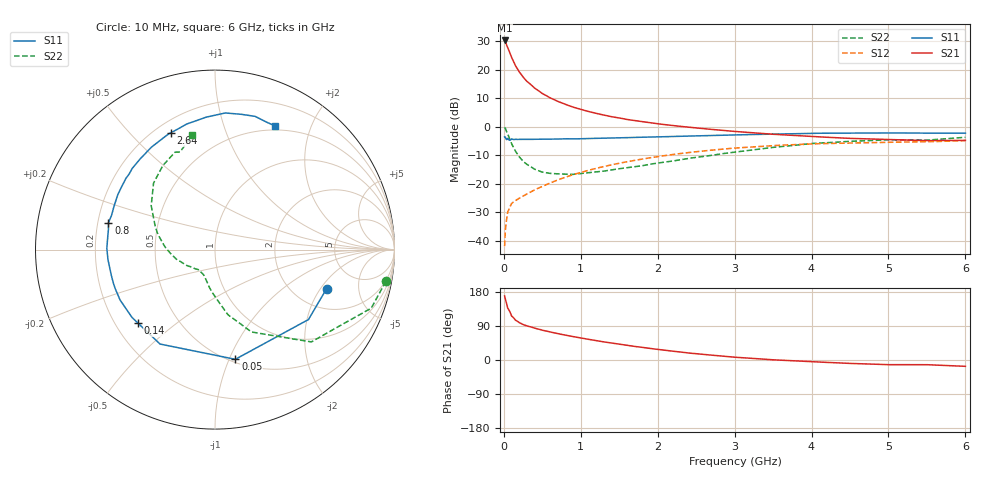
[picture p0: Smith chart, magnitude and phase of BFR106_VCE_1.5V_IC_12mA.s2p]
! Infineon Technologies  Discrete & RF Semiconductors
! BFR106
! VCE =  1.5 V,  IC =  12 mA
! Common Emitter S-Parameters:  Nov 2015
# GHz  S  MA  R  50
!  f  S11  S21  S12  S22
! GHz  MAG  ANG  MAG  ANG  MAG  ANG  MAG  ANG
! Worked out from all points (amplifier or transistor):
!   210 points, 10 MHz to 6 GHz, reference 50 ohm
!   highest |S21| = 30.2 dB at 10 MHz (marker M1)
!   |S21| within 3 dB of that: start of sweep to 58.46 MHz
!   unconditionally stable (mu >= 1): 442.4 MHz to 2.534 GHz; 4.384 GHz to end of sweep
!   at 185 MHz: K = 0.63, MSG = 22.6 dB, |S12| = -25.4 dB
!   at 1.52 GHz: K = 1.09, MAG = 6.0 dB, |S12| = -12.8 dB
!   at 6 GHz: K = 1.02, MAG = -0.9 dB, |S12| = -4.9 dB
!   S11 on the Smith chart (normalised r, x): 10 MHz: 2.97, -2.29; 50 MHz: 0.53, -1.05; 140 MHz: 0.29, -0.37; 800 MHz: 0.24, +0.12; 2.64 GHz: 0.26, +0.66; 6 GHz: 0.45, +1.50
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0.01  0.6588 -19.3  32.33 169.0  0.008 83.2  0.9687 -10.5
0.02  0.6504 -36.8  30.89 159.8  0.0153 74.8  0.9297 -20.5
0.05  0.6216 -79.5  24.41 136.9  0.0315 57.2  0.7433 -43.8
0.1  0.6088 -120.2  16.34 116.4  0.0446 45.9  0.502 -66.1
0.14  0.5933 -136.6  12.58 108.1  0.0492 44.4  0.395 -75.5
0.15  0.5972 -140.7  11.7 105.2  0.0504 44.1  0.3705 -78.7
0.2  0.5989 -152.1  9.102 98.6  0.0554 45.0  0.2948 -85.7
0.24  0.5968 -158.5  7.703 94.6  0.0593 46.2  0.2545 -91.1
0.26  0.5965 -161.3  7.125 92.8  0.0614 47.0  0.2393 -93.6
0.3  0.5952 -166.1  6.197 89.9  0.0658 48.9  0.2175 -97.6
0.4  0.5989 -174.7  4.722 83.9  0.0775 52.7  0.1789 -105.6
0.5  0.6027 179.4  3.8 78.6  0.0892 55.1  0.1589 -111.5
0.6  0.6017 173.9  3.198 73.9  0.1021 56.9  0.1512 -116.7
0.8  0.6122 165.8  2.442 65.5  0.1294 58.3  0.1462 -126.8
1.02  0.6123 156.7  1.964 57.5  0.1597 58.5  0.1514 -134.3
1.4  0.6296 144.1  1.49 44.9  0.2135 56.0  0.1743 -148.0
2.02  0.6597 126.5  1.111 27.6  0.2999 48.4  0.2314 -169.7
2.64  0.6959 110.8  0.907 13.9  0.3789 39.0  0.3049 170.0
3.1  0.72 101.0  0.803 6.1  0.4282 31.4  0.3689 156.0
4.1  0.7635 84.3  0.658 -5.5  0.5017 15.5  0.5119 130.4
5.1  0.7729 72.2  0.586 -12.3  0.5325 2.7  0.5848 111.8
6  0.7657 64.0  0.573 -16.7  0.566 -6.8  0.6492 101.3
